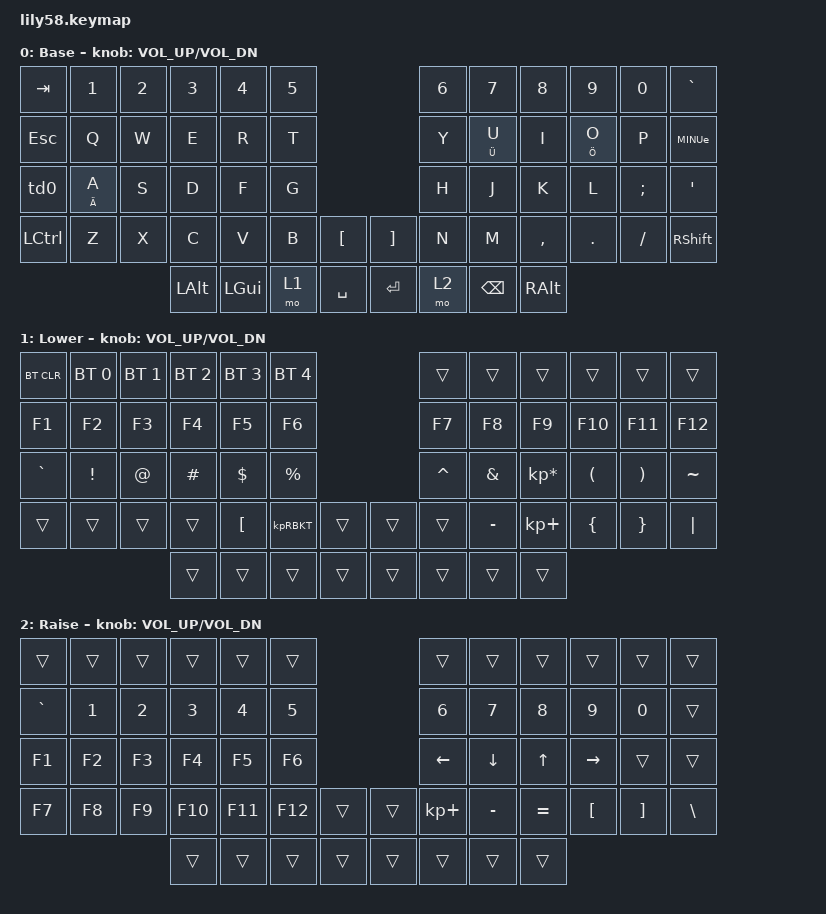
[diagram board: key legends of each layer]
/*
 * Copyright (c) 2020 The ZMK Contributors
 *
 * SPDX-License-Identifier: MIT
 */

#include <behaviors.dtsi>
#include <dt-bindings/zmk/keys.h>
#include <dt-bindings/zmk/bt.h>
#include <dt-bindings/zmk/ext_power.h>

/ {
    behaviours {
	td0: tap_dance_0 {
	    compatible = "zmk,behaviour_tab_dance";
	    #binding_cells = <0>;
	    tapping-term-ms = <200>;
	    bindings = &kp LSHIFT, &kp CAPSLOCK;
	};
    };

    keymap {
        compatible = "zmk,keymap";

        default_layer {
// ------------------------------------------------------------------------------------------------------------
// |  TAB  |  1  |  2  |  3   |  4   |  5   |                   |  6   |  7    |  8    |  9   |   0   |   `   |
// |  ESC  |  Q  |  W  |  E   |  R   |  T   |                   |  Y   |  U    |  I    |  O   |   P   |   -   |
// |  TD0  |  A  |  S  |  D   |  F   |  G   |                   |  H   |  J    |  K    |  L   |   ;   |   '   |
// |  CTRL |  Z  |  X  |  C   |  V   |  B   |   "["  |  |  "]"  |  N   |  M    |  ,    |  .   |   /   | SHIFT |
//                     | ALT  | GUI  | LOWER|  SPACE |  | ENTER | RAISE| BSPC  | ALT  |
            display-name = "Base";
            bindings = <
&kp TAB  &kp N1  &kp N2 &kp N3   &kp N4   &kp N5                    &kp N6 &kp N7   &kp N8    &kp N9  &kp N0   &kp GRAVE
&kp ESC  &kp Q   &kp W  &kp E    &kp R    &kp T                     &kp Y  &mt Ü U  &kp I     &mt Ö O &kp P    &kp MINUe
&td0     &mt Ä A &kp S  &kp D    &kp F    &kp G                     &kp H  &kp J    &kp K     &kp L   &kp SEMI &kp SQT
&kp LCTRL &kp Z   &kp X  &kp C    &kp V    &kp B &kp LBKT   &kp RBKT &kp N  &kp M    &kp COMMA &kp DOT &kp FSLH &kp RSHFT
                        &kp LALT &kp LGUI &mo 1  &kp SPACE  &kp RET  &mo 2  &kp BSPC &kp RALT
            >;

            sensor-bindings = <&inc_dec_kp C_VOL_UP C_VOL_DN>;
        };

        lower_layer {
// ------------------------------------------------------------------------------------------------------------
// | BTCLR | BT1 | BT2 |  BT3 |  BT4 |  BT5 |                   |      |       |       |      |       |       |
// |  F1   |  F2 |  F3 |  F4  |  F5  |  F6  |                   |  F7  |  F8   |  F9   |  F10 |  F11  |  F12  |
// |   `   |  !  |  @  |  #   |  $   |  %   |                   |  ^   |  &    |  *    |  (   |   )   |   ~   |
// |       |     |     |      |  [   |  ]   |        |  |       |      |  _    |  +    |  {   |   }   |  "|"  |
//                     |      |      |      |        |  |       |      |       |       |
            display-name = "Lower";
            bindings = <
&bt BT_CLR &bt BT_SEL 0     &bt BT_SEL 1      &bt BT_SEL 2      &bt BT_SEL 3 &bt BT_SEL 4                 &trans    &trans    &trans          &trans    &trans    &trans
&kp F1     &kp F2           &kp F3            &kp F4            &kp F5       &kp F6                       &kp F7    &kp F8    &kp F9          &kp F10   &kp F11   &kp F12
&kp GRAVE  &kp EXCL         &kp AT            &kp HASH          &kp DOLLAR   &kp PRCNT                    &kp CARET &kp AMPS  &kp KP_MULTIPLY &kp LPAR  &kp RPAR  &kp TILDE
&trans     &trans           &trans            &trans            &kp LBKT     &kpRBKT   &trans   &trans    &trans    &kp MINUS &kp KP_PLUS     &kp LBRC  &kp RBRC  &kp PIPE
                                              &trans            &trans       &trans    &trans   &trans    &trans    &trans    &trans
            >;

            sensor-bindings = <&inc_dec_kp C_VOL_UP C_VOL_DN>;
        };

        raise_layer {
// ------------------------------------------------------------------------------------------------------------
// |       |     |     |      |      |      |                   |      |       |       |      |       |       |
// |   `   |  1  |  2  |  3   |  4   |  5   |                   |  6   |   7   |   8   |  9   |   0   |       |
// |   F1  |  F2 |  F3 |  F4  |  F5  |  F6  |                   |  <-  |   ^   |   v   |  ->  |       |       |
// |   F7  |  F8 |  F9 |  F10 |  F11 |  F12 |        |  |       |  +   |   -   |   =   |  [   |   ]   |   \   |
//                     |      |      |      |        |  |       |      |       |       |
            display-name = "Raise";
            bindings = <
&trans    &trans &trans &trans  &trans  &trans                       &trans      &trans    &trans    &trans    &trans    &trans
&kp GRAVE &kp N1 &kp N2 &kp N3  &kp N4  &kp N5                       &kp N6      &kp N7    &kp N8    &kp N9    &kp N0    &trans
&kp F1    &kp F2 &kp F3 &kp F4  &kp F5  &kp F6                       &kp LEFT    &kp DOWN  &kp UP    &kp RIGHT &trans    &trans
&kp F7    &kp F8 &kp F9 &kp F10 &kp F11 &kp F12   &trans   &trans    &kp KP_PLUS &kp MINUS &kp EQUAL &kp LBKT  &kp RBKT  &kp BSLH
                        &trans  &trans  &trans    &trans   &trans    &trans      &trans    &trans
            >;

            sensor-bindings = <&inc_dec_kp C_VOL_UP C_VOL_DN>;
        };

        extra_1 {
            status = "reserved";
        };

        extra_2 {
            status = "reserved";
        };

        extra_3 {
            status = "reserved";
        };
    };
};

&mt {
    tapping-term-ms = <300>;
